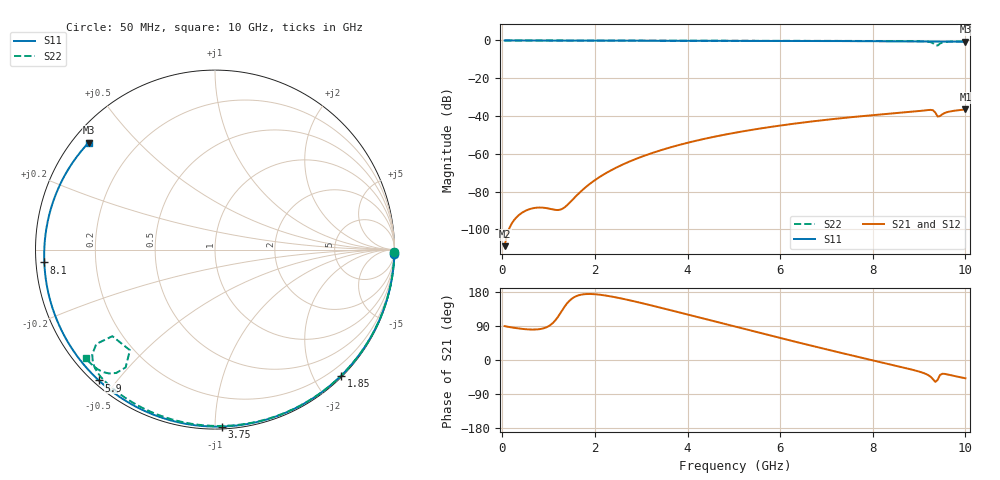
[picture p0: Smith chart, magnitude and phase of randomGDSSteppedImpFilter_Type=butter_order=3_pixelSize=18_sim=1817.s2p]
! freq	dB(S11)	phase(S11)	dB(S12)	phase(S12)
!  dB(S21)	phase(S21)	dB(S22)	phase(S22)
!S-par simulation data
#  GHz  S  DB  R 50
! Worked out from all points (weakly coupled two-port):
!   200 points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, 50 MHz to 10 GHz, reference 50 ohm
!   highest |S21| = -36.55 dB at 10 GHz (marker M1); lowest = -108.9 dB at 50 MHz (marker M2)
!   lowest |S11| = -0.7 dB at 10 GHz (marker M3), VSWR 24.74, Z = 2.29 + j18.3 ohm
!   |S11| at or under -10 dB: nowhere
!   |S22| runs from -2.7 to 0.0 dB; largest |S21 - S12| = 0
!   S11 on the Smith chart (normalised r, x): 50 MHz: 0, -91; 1.85 GHz: 0.02, -2.41; 3.75 GHz: 0.01, -1.04; 5.9 GHz: 0.02, -0.45; 8.1 GHz: 0.02, -0.04; 10 GHz: 0.05, +0.37
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0.05  -0.00 -1.3  -108.93 89.4  -108.93 89.4  -0.00 -0.8
0.8  -0.03 -19.8  -88.47 81.3  -88.47 81.3  -0.02 -13.1
1.65  -0.05 -40.4  -81.03 170.8  -81.03 170.8  -0.03 -26.7
1.75  -0.05 -42.7  -78.77 173.4  -78.77 173.4  -0.04 -28.3
1.85  -0.06 -45.1  -76.71 174.2  -76.71 174.2  -0.04 -29.9
2.5  -0.08 -60.2  -66.86 164.1  -66.86 164.1  -0.05 -40.1
3.4  -0.10 -80.2  -58.30 138.6  -58.30 138.6  -0.07 -53.9
3.75  -0.12 -87.8  -55.79 127.8  -55.79 127.8  -0.08 -59.1
5.05  -0.17 -114.6  -48.75 87.2  -48.75 87.2  -0.12 -77.8
5.9  -0.22 -131.6  -45.41 61.1  -45.41 61.1  -0.15 -89.6
6.7  -0.28 -147.4  -42.85 37.0  -42.85 37.0  -0.19 -100.3
8.1  -0.41 -175.7  -39.34 -3.9  -39.34 -3.9  -0.29 -118.8
8.35  -0.44 179.0  -38.81 -11.0  -38.81 -11.0  -0.31 -122.2
8.95  -0.52 165.7  -37.50 -28.8  -37.50 -28.8  -0.41 -131.2
9.2  -0.55 159.9  -36.84 -40.1  -36.84 -40.1  -0.68 -137.4
9.3  -0.57 157.6  -36.96 -50.7  -36.96 -50.7  -1.46 -141.5
9.35  -0.58 156.4  -38.14 -57.8  -38.14 -57.8  -2.52 -139.9
9.4  -0.59 155.1  -40.27 -52.6  -40.27 -52.6  -2.69 -130.2
9.45  -0.59 153.9  -40.08 -39.9  -40.08 -39.9  -1.68 -127.2
9.5  -0.60 152.7  -39.11 -36.4  -39.11 -36.4  -1.10 -128.7
9.65  -0.63 148.9  -37.69 -39.1  -37.69 -39.1  -0.64 -133.4
10  -0.70 139.7  -36.55 -48.2  -36.55 -48.2  -0.53 -139.9
